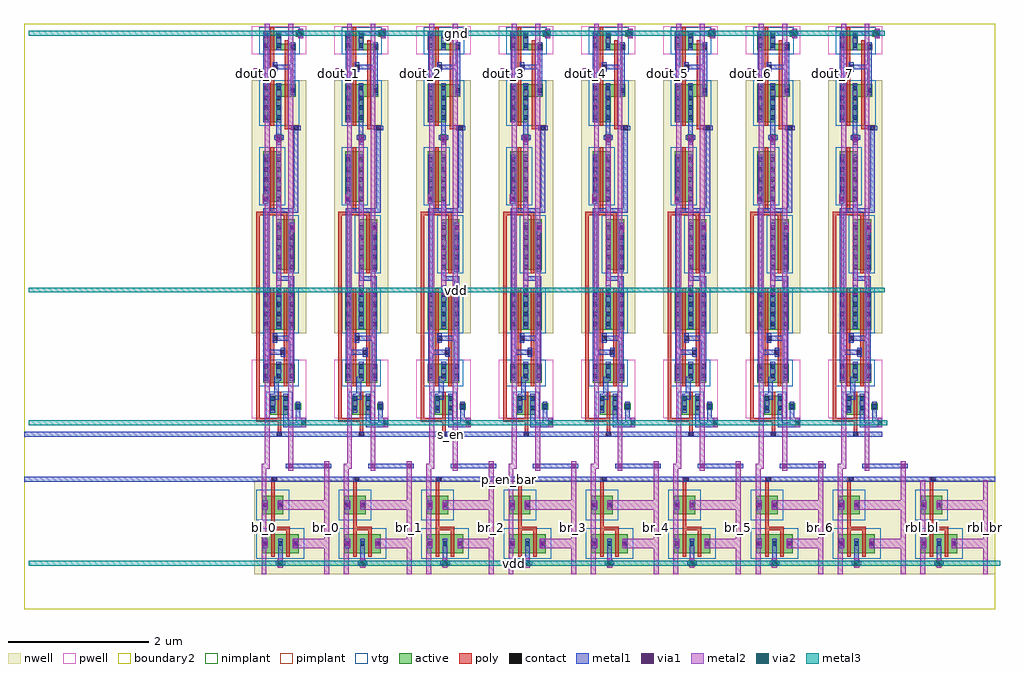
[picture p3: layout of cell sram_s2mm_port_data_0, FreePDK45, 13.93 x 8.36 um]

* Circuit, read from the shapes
.subckt sram_s2mm_port_data_0 bl_0 bl_1 bl_2 bl_3 bl_4 bl_5 bl_6 bl_7 br_0 br_1 br_2 br_3 br_4 br_5 br_6 br_7 dout_0 dout_1 dout_2 dout_3 dout_4 dout_5 dout_6 dout_7 gnd p_en_bar rbl_bl rbl_br s_en vdd
M1 n1 n2 n3 gnd nfet w=0.27u l=0.05u
M2 gnd n4 dout_0 gnd nfet w=0.27u l=0.05u
M3 gnd s_en n1 gnd nfet w=0.27u l=0.05u
M4 n2 n3 n1 gnd nfet w=0.27u l=0.05u
M5 n4 n3 gnd gnd nfet w=0.09u l=0.05u
M6 n5 n6 n7 gnd nfet w=0.27u l=0.05u
M7 gnd n8 dout_1 gnd nfet w=0.27u l=0.05u
M8 gnd s_en n5 gnd nfet w=0.27u l=0.05u
M9 n6 n7 n5 gnd nfet w=0.27u l=0.05u
M10 n8 n7 gnd gnd nfet w=0.09u l=0.05u
M11 n9 n10 n11 gnd nfet w=0.27u l=0.05u
M12 gnd n12 dout_2 gnd nfet w=0.27u l=0.05u
M13 gnd s_en n9 gnd nfet w=0.27u l=0.05u
M14 n10 n11 n9 gnd nfet w=0.27u l=0.05u
M15 n12 n11 gnd gnd nfet w=0.09u l=0.05u
M16 n13 n14 n15 gnd nfet w=0.27u l=0.05u
M17 gnd n16 dout_3 gnd nfet w=0.27u l=0.05u
M18 gnd s_en n13 gnd nfet w=0.27u l=0.05u
M19 n14 n15 n13 gnd nfet w=0.27u l=0.05u
M20 n16 n15 gnd gnd nfet w=0.09u l=0.05u
M21 n17 n18 n19 gnd nfet w=0.27u l=0.05u
M22 gnd n20 dout_4 gnd nfet w=0.27u l=0.05u
M23 gnd s_en n17 gnd nfet w=0.27u l=0.05u
M24 n18 n19 n17 gnd nfet w=0.27u l=0.05u
M25 n20 n19 gnd gnd nfet w=0.09u l=0.05u
M26 n21 n22 n23 gnd nfet w=0.27u l=0.05u
M27 gnd n24 dout_5 gnd nfet w=0.27u l=0.05u
M28 gnd s_en n21 gnd nfet w=0.27u l=0.05u
M29 n22 n23 n21 gnd nfet w=0.27u l=0.05u
M30 n24 n23 gnd gnd nfet w=0.09u l=0.05u
M31 n25 n26 n27 gnd nfet w=0.27u l=0.05u
M32 gnd n28 dout_6 gnd nfet w=0.27u l=0.05u
M33 gnd s_en n25 gnd nfet w=0.27u l=0.05u
M34 n26 n27 n25 gnd nfet w=0.27u l=0.05u
M35 n28 n27 gnd gnd nfet w=0.09u l=0.05u
M36 n29 n30 n31 gnd nfet w=0.27u l=0.05u
M37 gnd n32 dout_7 gnd nfet w=0.27u l=0.05u
M38 gnd s_en n29 gnd nfet w=0.27u l=0.05u
M39 n30 n31 n29 gnd nfet w=0.27u l=0.05u
M40 n32 n31 gnd gnd nfet w=0.09u l=0.05u
M41 vdd n2 n3 vdd pfet w=0.54u l=0.05u
M42 n3 s_en bl_0 vdd pfet w=0.72u l=0.05u
M43 vdd n4 dout_0 vdd pfet w=0.54u l=0.05u
M44 vdd p_en_bar bl_0 vdd pfet w=0.27u l=0.05u
M45 br_0 p_en_bar bl_0 vdd pfet w=0.27u l=0.05u
M46 n2 n3 vdd vdd pfet w=0.54u l=0.05u
M47 br_0 s_en n2 vdd pfet w=0.72u l=0.05u
M48 n4 n3 vdd vdd pfet w=0.18u l=0.05u
M49 br_0 p_en_bar vdd vdd pfet w=0.27u l=0.05u
M50 vdd n6 n7 vdd pfet w=0.54u l=0.05u
M51 n7 s_en bl_1 vdd pfet w=0.72u l=0.05u
M52 vdd n8 dout_1 vdd pfet w=0.54u l=0.05u
M53 vdd p_en_bar bl_1 vdd pfet w=0.27u l=0.05u
M54 br_1 p_en_bar bl_1 vdd pfet w=0.27u l=0.05u
M55 n6 n7 vdd vdd pfet w=0.54u l=0.05u
M56 br_1 s_en n6 vdd pfet w=0.72u l=0.05u
M57 n8 n7 vdd vdd pfet w=0.18u l=0.05u
M58 br_1 p_en_bar vdd vdd pfet w=0.27u l=0.05u
M59 vdd n10 n11 vdd pfet w=0.54u l=0.05u
M60 n11 s_en bl_2 vdd pfet w=0.72u l=0.05u
M61 vdd n12 dout_2 vdd pfet w=0.54u l=0.05u
M62 vdd p_en_bar bl_2 vdd pfet w=0.27u l=0.05u
M63 br_2 p_en_bar bl_2 vdd pfet w=0.27u l=0.05u
M64 n10 n11 vdd vdd pfet w=0.54u l=0.05u
M65 br_2 s_en n10 vdd pfet w=0.72u l=0.05u
M66 n12 n11 vdd vdd pfet w=0.18u l=0.05u
M67 br_2 p_en_bar vdd vdd pfet w=0.27u l=0.05u
M68 vdd n14 n15 vdd pfet w=0.54u l=0.05u
M69 n15 s_en bl_3 vdd pfet w=0.72u l=0.05u
M70 vdd n16 dout_3 vdd pfet w=0.54u l=0.05u
M71 vdd p_en_bar bl_3 vdd pfet w=0.27u l=0.05u
M72 br_3 p_en_bar bl_3 vdd pfet w=0.27u l=0.05u
M73 n14 n15 vdd vdd pfet w=0.54u l=0.05u
M74 br_3 s_en n14 vdd pfet w=0.72u l=0.05u
M75 n16 n15 vdd vdd pfet w=0.18u l=0.05u
M76 br_3 p_en_bar vdd vdd pfet w=0.27u l=0.05u
M77 vdd n18 n19 vdd pfet w=0.54u l=0.05u
M78 n19 s_en bl_4 vdd pfet w=0.72u l=0.05u
M79 vdd n20 dout_4 vdd pfet w=0.54u l=0.05u
M80 vdd p_en_bar bl_4 vdd pfet w=0.27u l=0.05u
M81 br_4 p_en_bar bl_4 vdd pfet w=0.27u l=0.05u
M82 n18 n19 vdd vdd pfet w=0.54u l=0.05u
M83 br_4 s_en n18 vdd pfet w=0.72u l=0.05u
M84 n20 n19 vdd vdd pfet w=0.18u l=0.05u
M85 br_4 p_en_bar vdd vdd pfet w=0.27u l=0.05u
M86 vdd n22 n23 vdd pfet w=0.54u l=0.05u
M87 n23 s_en bl_5 vdd pfet w=0.72u l=0.05u
M88 vdd n24 dout_5 vdd pfet w=0.54u l=0.05u
M89 vdd p_en_bar bl_5 vdd pfet w=0.27u l=0.05u
M90 br_5 p_en_bar bl_5 vdd pfet w=0.27u l=0.05u
M91 n22 n23 vdd vdd pfet w=0.54u l=0.05u
M92 br_5 s_en n22 vdd pfet w=0.72u l=0.05u
M93 n24 n23 vdd vdd pfet w=0.18u l=0.05u
M94 br_5 p_en_bar vdd vdd pfet w=0.27u l=0.05u
M95 vdd n26 n27 vdd pfet w=0.54u l=0.05u
M96 n27 s_en bl_6 vdd pfet w=0.72u l=0.05u
M97 vdd n28 dout_6 vdd pfet w=0.54u l=0.05u
M98 vdd p_en_bar bl_6 vdd pfet w=0.27u l=0.05u
M99 br_6 p_en_bar bl_6 vdd pfet w=0.27u l=0.05u
M100 n26 n27 vdd vdd pfet w=0.54u l=0.05u
M101 br_6 s_en n26 vdd pfet w=0.72u l=0.05u
M102 n28 n27 vdd vdd pfet w=0.18u l=0.05u
M103 br_6 p_en_bar vdd vdd pfet w=0.27u l=0.05u
M104 vdd n30 n31 vdd pfet w=0.54u l=0.05u
M105 n31 s_en bl_7 vdd pfet w=0.72u l=0.05u
M106 vdd n32 dout_7 vdd pfet w=0.54u l=0.05u
M107 vdd p_en_bar bl_7 vdd pfet w=0.27u l=0.05u
M108 br_7 p_en_bar bl_7 vdd pfet w=0.27u l=0.05u
M109 n30 n31 vdd vdd pfet w=0.54u l=0.05u
M110 br_7 s_en n30 vdd pfet w=0.72u l=0.05u
M111 n32 n31 vdd vdd pfet w=0.18u l=0.05u
M112 br_7 p_en_bar vdd vdd pfet w=0.27u l=0.05u
M113 vdd p_en_bar rbl_bl vdd pfet w=0.27u l=0.05u
M114 rbl_br p_en_bar rbl_bl vdd pfet w=0.27u l=0.05u
M115 rbl_br p_en_bar vdd vdd pfet w=0.27u l=0.05u
.ends

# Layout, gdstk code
import gdstk
lib = gdstk.Library(unit=1e-6, precision=5e-10)
def R(c, l, rs):  # rectangles x0, y0, x1, y1
    for r in rs: c.add(gdstk.rectangle(r[:2], r[2:], *l))
def A(c, l, x, y, w, h, nx, ny, dx, dy):  # array of equal rectangles
    R(c, l, [(x+i*dx, y+j*dy, x+i*dx+w, y+j*dy+h) for i in range(nx) for j in range(ny)])
def P(c, l, *ps):  # polygons
    for p in ps: c.add(gdstk.Polygon(p, *l))
active = (1, 0)
pwell = (2, 0)
nwell = (3, 0)
nimplant = (4, 0)
pimplant = (5, 0)
vtg = (6, 0)
poly = (9, 0)
contact = (10, 0)
metal1 = (11, 0)
via1 = (12, 0)
metal2 = (13, 0)
via2 = (14, 0)
metal3 = (15, 0)
boundary2 = (239, 0)

sram_s2mm_contact_11 = lib.new_cell('sram_s2mm_contact_11')
R(sram_s2mm_contact_11, active, [(0,0.0225,0.09,0.1125)])
R(sram_s2mm_contact_11, nwell, [(-0.055,-0.0325,0.145,0.1675)])
R(sram_s2mm_contact_11, pimplant, [(0,0.0225,0.09,0.1125)])
R(sram_s2mm_contact_11, contact, [(0.0125,0.035,0.0775,0.1)])
R(sram_s2mm_contact_11, metal1, [(0.0125,0,0.0775,0.135)])
R(sram_s2mm_contact_11, boundary2, [(-0.055,-0.0325,0.145,0.1675)])

sram_s2mm_pmos_m1_w0_270 = lib.new_cell('sram_s2mm_pmos_m1_w0_270_sm1_dm1')
R(sram_s2mm_pmos_m1_w0_270, active, [(0,0,0.305,0.27)])
R(sram_s2mm_pmos_m1_w0_270, nwell, [(-0.08,-0.08,0.385,0.35)])
R(sram_s2mm_pmos_m1_w0_270, pimplant, [(0,0,0.305,0.27)])
R(sram_s2mm_pmos_m1_w0_270, vtg, [(-0.08,-0.08,0.385,0.35)])
R(sram_s2mm_pmos_m1_w0_270, poly, [(0.1275,-0.055,0.1775,0.325), (0.1275,-0.055,0.1775,0.325)])
R(sram_s2mm_pmos_m1_w0_270, metal1, [(0.0125,0.0675,0.0775,0.2025), (0.2275,0.0675,0.2925,0.2025)])
R(sram_s2mm_pmos_m1_w0_270, boundary2, [(-0.08,-0.08,0.385,0.35)])
sram_s2mm_pmos_m1_w0_270.add(gdstk.Reference(sram_s2mm_contact_11, (0,0.0675)))
sram_s2mm_pmos_m1_w0_270.add(gdstk.Reference(sram_s2mm_contact_11, (0.215,0.0675)))
sram_s2mm_pmos_m1_w0_270.add(gdstk.Label('G', (0.1525,0.135), layer=9, texttype=0))
sram_s2mm_pmos_m1_w0_270.add(gdstk.Label('S', (0.045,0.135), layer=11, texttype=0))
sram_s2mm_pmos_m1_w0_270.add(gdstk.Label('D', (0.26,0.135), layer=11, texttype=0))

sram_s2mm_contact_14 = lib.new_cell('sram_s2mm_contact_14')
R(sram_s2mm_contact_14, poly, [(0.03,0,0.105,0.075)])
R(sram_s2mm_contact_14, contact, [(0.035,0.005,0.1,0.07)])
R(sram_s2mm_contact_14, metal1, [(0,0.005,0.135,0.07)])
R(sram_s2mm_contact_14, boundary2, [(0,0,0.135,0.075)])

sram_s2mm_contact_22 = lib.new_cell('sram_s2mm_contact_22')
R(sram_s2mm_contact_22, active, [(0.0225,0,0.1125,0.09)])
R(sram_s2mm_contact_22, nwell, [(-0.0325,-0.055,0.1675,0.145)])
R(sram_s2mm_contact_22, nimplant, [(0.0225,0,0.1125,0.09)])
R(sram_s2mm_contact_22, contact, [(0.035,0.0125,0.1,0.0775)])
R(sram_s2mm_contact_22, metal1, [(0,0.0125,0.135,0.0775)])
R(sram_s2mm_contact_22, boundary2, [(-0.0325,-0.055,0.1675,0.145)])

sram_s2mm_contact_17 = lib.new_cell('sram_s2mm_contact_17')
R(sram_s2mm_contact_17, metal1, [(0,0.035,0.135,0.1)])
R(sram_s2mm_contact_17, via1, [(0.035,0.035,0.1,0.1)])
R(sram_s2mm_contact_17, metal2, [(0.0325,0,0.1025,0.135)])
R(sram_s2mm_contact_17, boundary2, [(0,0,0.135,0.135)])

sram_s2mm_contact_23 = lib.new_cell('sram_s2mm_contact_23')
R(sram_s2mm_contact_23, metal1, [(0.0025,0,0.0675,0.135)])
R(sram_s2mm_contact_23, via1, [(0.0025,0.035,0.0675,0.1)])
R(sram_s2mm_contact_23, metal2, [(0,0,0.07,0.135)])
R(sram_s2mm_contact_23, boundary2, [(0,0,0.07,0.135)])

sram_s2mm_precharge_1 = lib.new_cell('sram_s2mm_precharge_1')
R(sram_s2mm_precharge_1, nwell, [(0,0,1.175,1.34)])
R(sram_s2mm_precharge_1, poly, [(0.24,-0.0375,0.29,0.0125), (0.265,-0.0375,0.29,0.0125), (0.24,-0.0125,0.29,0.165), (0.24,0.545,0.29,0.715), (0.24,0.665,0.505,0.715)])
R(sram_s2mm_precharge_1, metal1, [(0,-0.045,1.175,0.02), (0.34,0.905,0.405,1.185), (0.34,1.1525,0.405,1.2175)])
R(sram_s2mm_precharge_1, metal2, [(0.105,0,0.175,1.34), (0.105,0,0.175,1.34), (1,0,1.07,1.34), (1,0,1.07,1.34), (0.14,0.2875,0.1575,0.4225), (0.3725,0.2875,1.035,0.4225), (0.14,0.8375,0.1575,0.9725), (0.5875,0.8375,1.035,0.9725)])
R(sram_s2mm_precharge_1, boundary2, [(0,0,1.175,1.34)])
sram_s2mm_precharge_1.add(gdstk.Reference(sram_s2mm_pmos_m1_w0_270, (0.1125,0.22)))
sram_s2mm_precharge_1.add(gdstk.Reference(sram_s2mm_pmos_m1_w0_270, (0.1125,0.77)))
sram_s2mm_precharge_1.add(gdstk.Reference(sram_s2mm_pmos_m1_w0_270, (0.3275,0.77)))
sram_s2mm_precharge_1.add(gdstk.Reference(sram_s2mm_contact_14, (0.2225,-0.05)))
sram_s2mm_precharge_1.add(gdstk.Reference(sram_s2mm_contact_22, (0.305,1.14)))
sram_s2mm_precharge_1.add(gdstk.Reference(sram_s2mm_contact_17, (0.305,1.1175)))
sram_s2mm_precharge_1.add(gdstk.Reference(sram_s2mm_contact_23, (0.1225,0.2875)))
sram_s2mm_precharge_1.add(gdstk.Reference(sram_s2mm_contact_23, (0.3375,0.2875)))
sram_s2mm_precharge_1.add(gdstk.Reference(sram_s2mm_contact_23, (0.1225,0.8375)))
sram_s2mm_precharge_1.add(gdstk.Reference(sram_s2mm_contact_23, (0.5525,0.8375)))
sram_s2mm_precharge_1.add(gdstk.Label('en_bar', (0.5875,-0.0125), layer=11, texttype=0))
sram_s2mm_precharge_1.add(gdstk.Label('vdd', (0.3725,1.185), layer=11, texttype=0))
sram_s2mm_precharge_1.add(gdstk.Label('bl', (0.14,0.67), layer=13, texttype=0))
sram_s2mm_precharge_1.add(gdstk.Label('br', (1.035,0.67), layer=13, texttype=0))

sram_s2mm_contact_18 = lib.new_cell('sram_s2mm_contact_18')
R(sram_s2mm_contact_18, metal2, [(0.0325,0,0.1025,0.135)])
R(sram_s2mm_contact_18, via2, [(0.035,0.035,0.1,0.1)])
R(sram_s2mm_contact_18, metal3, [(0,0.0325,0.135,0.1025)])
R(sram_s2mm_contact_18, boundary2, [(0,0,0.135,0.135)])

sram_s2mm_precharge_arra = lib.new_cell('sram_s2mm_precharge_array_0')
R(sram_s2mm_precharge_arra, metal1, [(0,-0.045,13.86,0.02), (3.84,-0.045,3.905,0.02), (3.84,-0.045,3.905,0.02), (5.015,-0.045,5.08,0.02), (5.015,-0.045,5.08,0.02), (6.19,-0.045,6.255,0.02), (6.19,-0.045,6.255,0.02), (7.365,-0.045,7.43,0.02), (7.365,-0.045,7.43,0.02), (8.54,-0.045,8.605,0.02), (8.54,-0.045,8.605,0.02), (9.715,-0.045,9.78,0.02), (9.715,-0.045,9.78,0.02), (10.89,-0.045,10.955,0.02), (10.89,-0.045,10.955,0.02), (12.065,-0.045,12.13,0.02), (12.065,-0.045,12.13,0.02), (13.24,-0.045,13.305,0.02), (13.24,-0.045,13.305,0.02)])
R(sram_s2mm_precharge_arra, metal2, [(3.39,0,3.46,1.34), (4.285,0,4.355,1.34), (4.565,0,4.635,1.34), (5.46,0,5.53,1.34), (5.74,0,5.81,1.34), (6.635,0,6.705,1.34), (6.915,0,6.985,1.34), (7.81,0,7.88,1.34), (8.09,0,8.16,1.34), (8.985,0,9.055,1.34), (9.265,0,9.335,1.34), (10.16,0,10.23,1.34), (10.44,0,10.51,1.34), (11.335,0,11.405,1.34), (11.615,0,11.685,1.34), (12.51,0,12.58,1.34), (12.79,0,12.86,1.34), (13.685,0,13.755,1.34)])
R(sram_s2mm_precharge_arra, metal3, [(0.0675,1.15,13.9275,1.22)])
R(sram_s2mm_precharge_arra, boundary2, [(0,0,13.86,1.34)])
sram_s2mm_precharge_arra.add(gdstk.Reference(sram_s2mm_precharge_1, (3.285,0)))
sram_s2mm_precharge_arra.add(gdstk.Reference(sram_s2mm_precharge_1, (4.46,0)))
sram_s2mm_precharge_arra.add(gdstk.Reference(sram_s2mm_precharge_1, (5.635,0)))
sram_s2mm_precharge_arra.add(gdstk.Reference(sram_s2mm_precharge_1, (6.81,0)))
sram_s2mm_precharge_arra.add(gdstk.Reference(sram_s2mm_precharge_1, (7.985,0)))
sram_s2mm_precharge_arra.add(gdstk.Reference(sram_s2mm_precharge_1, (9.16,0)))
sram_s2mm_precharge_arra.add(gdstk.Reference(sram_s2mm_precharge_1, (10.335,0)))
sram_s2mm_precharge_arra.add(gdstk.Reference(sram_s2mm_precharge_1, (11.51,0)))
sram_s2mm_precharge_arra.add(gdstk.Reference(sram_s2mm_precharge_1, (12.685,0)))
sram_s2mm_precharge_arra.add(gdstk.Reference(sram_s2mm_contact_17, (3.59,1.1175)))
sram_s2mm_precharge_arra.add(gdstk.Reference(sram_s2mm_contact_18, (3.59,1.1175)))
sram_s2mm_precharge_arra.add(gdstk.Reference(sram_s2mm_contact_17, (4.765,1.1175)))
sram_s2mm_precharge_arra.add(gdstk.Reference(sram_s2mm_contact_18, (4.765,1.1175)))
sram_s2mm_precharge_arra.add(gdstk.Reference(sram_s2mm_contact_17, (5.94,1.1175)))
sram_s2mm_precharge_arra.add(gdstk.Reference(sram_s2mm_contact_18, (5.94,1.1175)))
sram_s2mm_precharge_arra.add(gdstk.Reference(sram_s2mm_contact_17, (7.115,1.1175)))
sram_s2mm_precharge_arra.add(gdstk.Reference(sram_s2mm_contact_18, (7.115,1.1175)))
sram_s2mm_precharge_arra.add(gdstk.Reference(sram_s2mm_contact_17, (8.29,1.1175)))
sram_s2mm_precharge_arra.add(gdstk.Reference(sram_s2mm_contact_18, (8.29,1.1175)))
sram_s2mm_precharge_arra.add(gdstk.Reference(sram_s2mm_contact_17, (9.465,1.1175)))
sram_s2mm_precharge_arra.add(gdstk.Reference(sram_s2mm_contact_18, (9.465,1.1175)))
sram_s2mm_precharge_arra.add(gdstk.Reference(sram_s2mm_contact_17, (10.64,1.1175)))
sram_s2mm_precharge_arra.add(gdstk.Reference(sram_s2mm_contact_18, (10.64,1.1175)))
sram_s2mm_precharge_arra.add(gdstk.Reference(sram_s2mm_contact_17, (11.815,1.1175)))
sram_s2mm_precharge_arra.add(gdstk.Reference(sram_s2mm_contact_18, (11.815,1.1175)))
sram_s2mm_precharge_arra.add(gdstk.Reference(sram_s2mm_contact_17, (12.99,1.1175)))
sram_s2mm_precharge_arra.add(gdstk.Reference(sram_s2mm_contact_18, (12.99,1.1175)))
sram_s2mm_precharge_arra.add(gdstk.Label('en_bar', (6.93,-0.0125), layer=11, texttype=0))
sram_s2mm_precharge_arra.add(gdstk.Label('bl_0', (3.425,0.67), layer=13, texttype=0))
sram_s2mm_precharge_arra.add(gdstk.Label('br_0', (4.32,0.67), layer=13, texttype=0))
sram_s2mm_precharge_arra.add(gdstk.Label('bl_1', (4.6,0.67), layer=13, texttype=0))
sram_s2mm_precharge_arra.add(gdstk.Label('br_1', (5.495,0.67), layer=13, texttype=0))
sram_s2mm_precharge_arra.add(gdstk.Label('bl_2', (5.775,0.67), layer=13, texttype=0))
sram_s2mm_precharge_arra.add(gdstk.Label('br_2', (6.67,0.67), layer=13, texttype=0))
sram_s2mm_precharge_arra.add(gdstk.Label('bl_3', (6.95,0.67), layer=13, texttype=0))
sram_s2mm_precharge_arra.add(gdstk.Label('br_3', (7.845,0.67), layer=13, texttype=0))
sram_s2mm_precharge_arra.add(gdstk.Label('bl_4', (8.125,0.67), layer=13, texttype=0))
sram_s2mm_precharge_arra.add(gdstk.Label('br_4', (9.02,0.67), layer=13, texttype=0))
sram_s2mm_precharge_arra.add(gdstk.Label('bl_5', (9.3,0.67), layer=13, texttype=0))
sram_s2mm_precharge_arra.add(gdstk.Label('br_5', (10.195,0.67), layer=13, texttype=0))
sram_s2mm_precharge_arra.add(gdstk.Label('bl_6', (10.475,0.67), layer=13, texttype=0))
sram_s2mm_precharge_arra.add(gdstk.Label('br_6', (11.37,0.67), layer=13, texttype=0))
sram_s2mm_precharge_arra.add(gdstk.Label('bl_7', (11.65,0.67), layer=13, texttype=0))
sram_s2mm_precharge_arra.add(gdstk.Label('br_7', (12.545,0.67), layer=13, texttype=0))
sram_s2mm_precharge_arra.add(gdstk.Label('bl_8', (12.825,0.67), layer=13, texttype=0))
sram_s2mm_precharge_arra.add(gdstk.Label('br_8', (13.72,0.67), layer=13, texttype=0))
sram_s2mm_precharge_arra.add(gdstk.Label('vdd', (6.9975,1.185), layer=15, texttype=0))

sense_amp = lib.new_cell('sense_amp')
R(sense_amp, active, [(0.595,0.095,0.685,0.185), (0.3075,1.58,0.3975,1.67), (0.1275,1.82,0.3875,2.54), (0.1275,1.82,0.2025,2.54), (0.1275,1.82,0.2025,2.54), (0.3125,1.82,0.3875,2.54), (0.3125,1.82,0.3875,2.54), (0.1275,1.905,0.2025,2.54), (0.3125,1.905,0.3875,2.54), (0.3175,2.79,0.5775,3.51), (0.3175,2.79,0.3925,3.51), (0.3175,2.79,0.3925,3.51), (0.5025,2.79,0.5775,3.51), (0.5025,2.79,0.5775,3.51), (0.3175,2.875,0.3925,3.51), (0.5025,2.875,0.5775,3.51), (0.1275,3.8275,0.2025,4.3225), (0.1275,3.8275,0.3875,4.3675), (0.1275,3.8275,0.2025,4.3675), (0.1275,3.8275,0.2025,4.3675), (0.3125,3.8275,0.3875,4.3225), (0.3125,3.8275,0.3875,4.3675), (0.3125,3.8275,0.3875,4.3675), (0.3175,3.8275,0.3925,4.3225), (0.3175,3.8275,0.5775,4.3675), (0.3175,3.8275,0.3925,4.3675), (0.3175,3.8275,0.3925,4.3675), (0.5025,3.8275,0.5775,4.3225), (0.5025,3.8275,0.5775,4.3675), (0.5025,3.8275,0.5775,4.3675), (0.1275,4.8525,0.2025,5.0675), (0.1275,4.8525,0.3875,5.1225), (0.1275,4.8525,0.2025,5.1225), (0.1275,4.8525,0.2025,5.1225), (0.3125,4.8525,0.3875,5.0675), (0.3125,4.8525,0.3875,5.1225), (0.3125,4.8525,0.3875,5.1225), (0.3175,4.8525,0.3925,5.0675), (0.3175,4.8525,0.5775,5.1225), (0.3175,4.8525,0.3925,5.1225), (0.3175,4.8525,0.3925,5.1225), (0.5025,4.8525,0.5775,5.0675), (0.5025,4.8525,0.5775,5.1225), (0.5025,4.8525,0.5775,5.1225), (0.2275,5.31,0.3025,5.525), (0.2275,5.31,0.4875,5.58), (0.2275,5.31,0.3025,5.58), (0.2275,5.31,0.3025,5.58), (0.4125,5.31,0.4875,5.525), (0.4125,5.31,0.4875,5.58), (0.4125,5.31,0.4875,5.58), (0.58,5.42,0.67,5.51)])
P(sense_amp, active, [(0.1275,0.11),(0.1275,0.38),(0.5925,0.38),(0.5925,0.29),(0.3875,0.29),(0.3875,0.11)],
  [(0.1275,0.865),(0.1275,1.405),(0.3875,1.405),(0.3875,1.045),(0.5925,1.045),(0.5925,0.865)])
R(sense_amp, pwell, [(-0.035,0.055,0.74,0.435), (-0.035,4.7975,0.74,5.635), (0.0725,4.7975,0.4425,5.1775), (0.2625,4.7975,0.6325,5.1775), (0.1725,5.255,0.5425,5.635), (0.525,5.365,0.725,5.565)])
P(sense_amp, pwell, [(-0.035,0.04),(-0.035,0.055),(0.595,0.055),(0.595,0.095),(0.685,0.095),(0.685,0.055),(0.74,0.055),(0.74,0.04)])
R(sense_amp, nwell, [(-0.035,0.81,0.74,4.4225), (0.0725,1.765,0.4425,2.595), (0.2625,2.735,0.6325,3.565), (0.0725,3.7725,0.4425,4.4225), (0.2625,3.7725,0.6325,4.4225)])
R(sense_amp, nimplant, [(0.3075,1.58,0.3975,1.67), (0.1275,4.8525,0.3875,5.1225), (0.3175,4.8525,0.5775,5.1225), (0.2275,5.31,0.4875,5.58)])
P(sense_amp, nimplant, [(0.1275,0.11),(0.1275,0.38),(0.5925,0.38),(0.5925,0.29),(0.3875,0.29),(0.3875,0.11)])
R(sense_amp, pimplant, [(0.595,0.095,0.685,0.185), (0.1275,1.82,0.3875,2.54), (0.3175,2.79,0.5775,3.51), (0.1275,3.8275,0.3875,4.3675), (0.3175,3.8275,0.5775,4.3675), (0.58,5.42,0.67,5.51)])
P(sense_amp, pimplant, [(0.1275,0.865),(0.1275,1.405),(0.3875,1.405),(0.3875,1.045),(0.5925,1.045),(0.5925,0.865)])
R(sense_amp, vtg, [(0.0725,0.055,0.6475,0.435), (0.0725,0.81,0.645,1.46), (0.0725,1.765,0.4425,2.595), (0.2625,2.735,0.6325,3.565), (0.0725,3.7725,0.4425,4.4225), (0.2625,3.7725,0.6325,4.4225), (0.0725,4.7975,0.4425,5.1775), (0.2625,4.7975,0.6325,5.1775), (0.1725,5.255,0.5425,5.635)])
R(sense_amp, poly, [(0.2325,0.055,0.2825,1.46), (0.2575,0.585,0.3325,0.66), (0.2325,1.765,0.2825,1.82), (0.2325,1.765,0.2825,2.595), (0.2325,2.54,0.2825,2.595), (0.2325,2.595,0.2825,2.685), (0.0275,2.685,0.4725,2.735), (0.0275,2.735,0.0775,5.635), (0.4225,2.735,0.4725,2.79), (0.4225,2.735,0.4725,3.565), (0.4225,3.51,0.4725,3.565), (0.2325,3.7725,0.2825,3.8275), (0.2325,3.7725,0.2825,4.4225), (0.4225,3.7725,0.4725,3.8275), (0.4225,3.7725,0.4725,4.4225), (0.2325,4.04,0.2825,4.7975), (0.4225,4.04,0.4725,4.7975), (0.2325,4.3675,0.2825,4.4225), (0.4225,4.3675,0.4725,4.4225), (0.2575,4.4525,0.3325,4.5275), (0.3725,4.6525,0.4475,4.7275), (0.2325,4.7975,0.2825,4.8525), (0.2325,4.7975,0.2825,5.1775), (0.4225,4.7975,0.4725,4.8525), (0.4225,4.7975,0.4725,5.1775), (0.2325,5.1225,0.2825,5.1775), (0.4225,5.1225,0.4725,5.1775), (0.3325,5.255,0.3825,5.31), (0.3325,5.255,0.3825,5.635), (0.3325,5.58,0.3825,5.635), (0.0275,5.635,0.3825,5.685), (0.3325,5.685,0.3825,5.89), (0.32,5.8225,0.395,5.8975)])
P(sense_amp, poly, [(0.4375,0.235),(0.4375,1.505),(0.56,1.505),(0.56,1.525),(0.635,1.525),(0.635,1.45),(0.4875,1.45),(0.4875,0.235)])
A(sense_amp, contact, 0.1325, 0.8875, 0.065, 0.065, 1, 4, 0, 0.14)
A(sense_amp, contact, 0.3175, 0.8875, 0.065, 0.065, 1, 4, 0, 0.14)
A(sense_amp, contact, 0.1325, 1.91, 0.065, 0.065, 1, 5, 0, 0.14)
A(sense_amp, contact, 0.3175, 1.91, 0.065, 0.065, 1, 5, 0, 0.14)
A(sense_amp, contact, 0.3225, 2.88, 0.065, 0.065, 1, 5, 0, 0.14)
A(sense_amp, contact, 0.5075, 2.88, 0.065, 0.065, 1, 5, 0, 0.14)
A(sense_amp, contact, 0.1325, 3.8325, 0.065, 0.065, 1, 4, 0, 0.14)
A(sense_amp, contact, 0.3225, 3.8325, 0.065, 0.065, 1, 4, 0, 0.14)
A(sense_amp, contact, 0.5075, 3.8325, 0.065, 0.065, 1, 4, 0, 0.14)
R(sense_amp, contact, [(0.61,0.1075,0.675,0.1725), (0.1325,0.1425,0.1975,0.2075), (0.3175,0.1425,0.3825,0.2075), (0.1325,0.2825,0.1975,0.3475), (0.3175,0.2825,0.3825,0.3475), (0.5225,0.3,0.5875,0.365), (0.2625,0.59,0.3275,0.655), (0.5225,0.92,0.5875,0.985), (0.565,1.455,0.63,1.52), (0.32,1.5925,0.385,1.6575), (0.2625,4.4575,0.3275,4.5225), (0.3775,4.6575,0.4425,4.7225), (0.1325,4.8575,0.1975,4.9225), (0.3225,4.8575,0.3875,4.9225), (0.5075,4.8575,0.5725,4.9225), (0.1325,4.9975,0.1975,5.0625), (0.3225,4.9975,0.3875,5.0625), (0.5075,4.9975,0.5725,5.0625), (0.2325,5.315,0.2975,5.38), (0.4175,5.315,0.4825,5.38), (0.5925,5.4325,0.6575,5.4975), (0.2325,5.455,0.2975,5.52), (0.4175,5.455,0.4825,5.52), (0.325,5.8275,0.39,5.8925)])
R(sense_amp, metal1, [(0.1325,0.1075,0.1975,1.4075), (0.3175,0.1075,0.3825,0.3825), (0.3825,0.1075,0.5675,0.1725), (0.5225,0.265,0.5875,0.3), (0.2625,0.555,0.3275,0.69), (-0.0025,0.64,0.0625,0.775), (-0.0075,0.67,0.0675,0.745), (0.0675,0.675,0.1325,0.74), (0.3175,0.8525,0.3825,0.8875), (0.3175,0.8875,0.3825,1.6575), (0.5225,0.985,0.5875,1.02), (0.53,1.455,0.665,1.52), (0.565,1.455,0.63,2.7), (0.285,1.5925,0.42,1.6575), (0.32,1.5925,0.385,1.7275), (0.1325,1.875,0.1975,2.57), (0.3175,1.875,0.3825,2.57), (0.1275,2.435,0.1925,2.57), (0.32,2.5025,0.385,2.7), (0.1325,2.635,0.63,2.7), (0.1325,2.7,0.1975,3.7975), (0.3225,2.845,0.3875,3.54), (0.5075,2.845,0.5725,3.54), (0.51,2.845,0.575,2.98), (0.3225,3.475,0.3875,3.67), (0.3225,3.605,0.5725,3.67), (0.5075,3.605,0.5725,3.8), (0.32,3.735,0.385,3.87), (0.1325,3.7975,0.1975,4.3525), (0.3175,3.7975,0.3825,4.3525), (0.3225,3.7975,0.3875,4.3525), (0.5075,3.7975,0.5725,4.3525), (0.1325,3.96,0.1975,4.8275), (0.5075,3.96,0.5725,4.8225), (0.2625,4.4225,0.3275,4.5575), (0.2825,4.4575,0.5725,4.5225), (0.3775,4.6225,0.4425,4.7575), (0.1325,4.6575,0.4225,4.7225), (0.1325,4.8225,0.1975,5.0975), (0.3175,4.8225,0.3825,5.0975), (0.3225,4.8225,0.3875,5.0975), (0.5075,4.8225,0.5725,5.0975), (0.2825,5.04,0.3525,5.3675), (0.2325,5.28,0.2975,5.555), (0.4175,5.28,0.4825,5.555), (0.5925,5.3975,0.6575,5.5325), (0.5925,5.5325,0.6575,5.7625), (0.4175,5.545,0.4825,5.6975), (0.6575,5.6275,0.6725,5.6975), (0.6725,5.6275,0.7375,5.7625), (0.4175,5.6975,0.74,5.7625), (-0.035,5.8275,0.74,5.8925), (-0.035,5.8275,0.74,5.8925), (0.23,5.8275,0.295,5.8925), (0.29,5.8275,0.425,5.8925)])
P(sense_amp, metal1, [(0.5225,0.3),(0.5225,0.59),(0.2625,0.59),(0.2625,0.655),(0.5225,0.655),(0.5225,0.985),(0.5875,0.985),(0.5875,0.3)],
  [(0.6325,0.0725),(0.6325,0.1075),(0.5675,0.1075),(0.5675,0.1725),(0.6325,0.1725),(0.6325,0.2075),(0.6975,0.2075),(0.6975,0.1725),(0.71,0.1725),(0.71,0.1075),(0.6975,0.1075),(0.6975,0.0725)],
  [(0,1.4525),(0,1.4525),(0,1.4525),(0,1.4525)])
R(sense_amp, via1, [(0.6325,0.1075,0.6975,0.1725), (-0.0025,0.675,0.0625,0.74), (0.32,1.6275,0.385,1.6925), (0.1275,2.47,0.1925,2.535), (0.51,2.88,0.575,2.945), (0.32,3.77,0.385,3.835), (0.6725,5.6625,0.7375,5.7275)])
R(sense_amp, metal2, [(0.15,0,0.22,6.01), (0.15,0,0.22,6.01), (0.485,0,0.555,6.01), (0.485,0,0.555,6.01), (0.6275,0.0725,0.7025,0.2075), (0.6275,0.0725,0.7025,0.2075), (0.6275,0.1025,0.7025,0.1775), (-0.01,0.64,0.0675,0.775), (-0.01,0.64,0.0675,0.775), (-0.0075,0.67,0.0675,0.745), (0.3175,1.5925,0.3875,1.7275), (0.3175,1.725,0.3875,3.735), (0.125,2.435,0.195,2.57), (0.5075,2.845,0.5775,2.98), (0.3175,3.735,0.3875,3.87), (0.3175,3.735,0.3875,3.87), (0.67,5.6275,0.74,5.7625), (0.67,5.6275,0.74,5.7625)])
R(sense_amp, boundary2, [(0,0,0.705,6.01)])
sense_amp.add(gdstk.Label('en', (0.258,5.86), layer=11, texttype=0))
sense_amp.add(gdstk.Label('dout', (0.0285,0.6925), layer=13, texttype=0))
sense_amp.add(gdstk.Label('gnd', (0.6555,0.1235), layer=13, texttype=0))
sense_amp.add(gdstk.Label('bl', (0.19,0.005), layer=13, texttype=0))
sense_amp.add(gdstk.Label('br', (0.52,0.0065), layer=13, texttype=0))
sense_amp.add(gdstk.Label('vdd', (0.3525,3.8), layer=13, texttype=0))
sense_amp.add(gdstk.Label('gnd', (0.7025,5.735), layer=13, texttype=0))
sense_amp.add(gdstk.Label('bl', (0.185,3.005), layer=13, texttype=0))
sense_amp.add(gdstk.Label('br', (0.52,3.005), layer=13, texttype=0))
sense_amp.add(gdstk.Label('dout', (0.029,0.7075), layer=13, texttype=0))
sense_amp.add(gdstk.Label('en', (0.3525,5.86), layer=11, texttype=0))
sense_amp.add(gdstk.Label('vdd', (0.3525,3.8025), layer=13, texttype=0))
sense_amp.add(gdstk.Label('gnd', (0.665,0.14), layer=13, texttype=0))
sense_amp.add(gdstk.Label('gnd', (0.705,5.695), layer=13, texttype=0))

sram_s2mm_sense_amp_arra = lib.new_cell('sram_s2mm_sense_amp_array')
A(sram_s2mm_sense_amp_arra, metal1, 3.605, 5.8275, 0.065, 0.065, 8, 1, 1.175, 0)
R(sram_s2mm_sense_amp_arra, metal1, [(0,5.8275,12.215,5.8925)])
A(sram_s2mm_sense_amp_arra, metal2, 3.275, 0.64, 0.0775, 0.135, 8, 1, 1.175, 0)
R(sram_s2mm_sense_amp_arra, metal2, [(3.435,0,3.505,6.01), (3.77,0,3.84,6.01), (4.61,0,4.68,6.01), (4.945,0,5.015,6.01), (5.785,0,5.855,6.01), (6.12,0,6.19,6.01), (6.96,0,7.03,6.01), (7.295,0,7.365,6.01), (8.135,0,8.205,6.01), (8.47,0,8.54,6.01), (9.31,0,9.38,6.01), (9.645,0,9.715,6.01), (10.485,0,10.555,6.01), (10.82,0,10.89,6.01), (11.66,0,11.73,6.01), (11.995,0,12.065,6.01)])
R(sram_s2mm_sense_amp_arra, metal3, [(0.0675,0.105,12.2825,0.175), (0.0675,3.7675,12.2825,3.8375), (0.0675,5.66,12.3175,5.73)])
R(sram_s2mm_sense_amp_arra, boundary2, [(0,0,12.215,6.01)])
sram_s2mm_sense_amp_arra.add(gdstk.Reference(sense_amp, (3.285,0)))
sram_s2mm_sense_amp_arra.add(gdstk.Reference(sense_amp, (4.46,0)))
sram_s2mm_sense_amp_arra.add(gdstk.Reference(sense_amp, (5.635,0)))
sram_s2mm_sense_amp_arra.add(gdstk.Reference(sense_amp, (6.81,0)))
sram_s2mm_sense_amp_arra.add(gdstk.Reference(sense_amp, (7.985,0)))
sram_s2mm_sense_amp_arra.add(gdstk.Reference(sense_amp, (9.16,0)))
sram_s2mm_sense_amp_arra.add(gdstk.Reference(sense_amp, (10.335,0)))
sram_s2mm_sense_amp_arra.add(gdstk.Reference(sense_amp, (11.51,0)))
sram_s2mm_sense_amp_arra.add(gdstk.Reference(sram_s2mm_contact_18, (3.57,3.735)))
sram_s2mm_sense_amp_arra.add(gdstk.Reference(sram_s2mm_contact_18, (4.745,3.735)))
sram_s2mm_sense_amp_arra.add(gdstk.Reference(sram_s2mm_contact_18, (5.92,3.735)))
sram_s2mm_sense_amp_arra.add(gdstk.Reference(sram_s2mm_contact_18, (7.095,3.735)))
sram_s2mm_sense_amp_arra.add(gdstk.Reference(sram_s2mm_contact_18, (8.27,3.735)))
sram_s2mm_sense_amp_arra.add(gdstk.Reference(sram_s2mm_contact_18, (9.445,3.735)))
sram_s2mm_sense_amp_arra.add(gdstk.Reference(sram_s2mm_contact_18, (10.62,3.735)))
sram_s2mm_sense_amp_arra.add(gdstk.Reference(sram_s2mm_contact_18, (11.795,3.735)))
sram_s2mm_sense_amp_arra.add(gdstk.Reference(sram_s2mm_contact_18, (3.8825,0.0725)))
sram_s2mm_sense_amp_arra.add(gdstk.Reference(sram_s2mm_contact_18, (5.0575,0.0725)))
sram_s2mm_sense_amp_arra.add(gdstk.Reference(sram_s2mm_contact_18, (6.2325,0.0725)))
sram_s2mm_sense_amp_arra.add(gdstk.Reference(sram_s2mm_contact_18, (7.4075,0.0725)))
sram_s2mm_sense_amp_arra.add(gdstk.Reference(sram_s2mm_contact_18, (8.5825,0.0725)))
sram_s2mm_sense_amp_arra.add(gdstk.Reference(sram_s2mm_contact_18, (9.7575,0.0725)))
sram_s2mm_sense_amp_arra.add(gdstk.Reference(sram_s2mm_contact_18, (10.9325,0.0725)))
sram_s2mm_sense_amp_arra.add(gdstk.Reference(sram_s2mm_contact_18, (12.1075,0.0725)))
sram_s2mm_sense_amp_arra.add(gdstk.Reference(sram_s2mm_contact_18, (3.9225,5.6275)))
sram_s2mm_sense_amp_arra.add(gdstk.Reference(sram_s2mm_contact_18, (5.0975,5.6275)))
sram_s2mm_sense_amp_arra.add(gdstk.Reference(sram_s2mm_contact_18, (6.2725,5.6275)))
sram_s2mm_sense_amp_arra.add(gdstk.Reference(sram_s2mm_contact_18, (7.4475,5.6275)))
sram_s2mm_sense_amp_arra.add(gdstk.Reference(sram_s2mm_contact_18, (8.6225,5.6275)))
sram_s2mm_sense_amp_arra.add(gdstk.Reference(sram_s2mm_contact_18, (9.7975,5.6275)))
sram_s2mm_sense_amp_arra.add(gdstk.Reference(sram_s2mm_contact_18, (10.9725,5.6275)))
sram_s2mm_sense_amp_arra.add(gdstk.Reference(sram_s2mm_contact_18, (12.1475,5.6275)))
sram_s2mm_sense_amp_arra.add(gdstk.Label('bl_0', (3.47,3.005), layer=13, texttype=0))
sram_s2mm_sense_amp_arra.add(gdstk.Label('br_0', (3.805,3.005), layer=13, texttype=0))
sram_s2mm_sense_amp_arra.add(gdstk.Label('data_0', (3.3135,0.7075), layer=13, texttype=0))
sram_s2mm_sense_amp_arra.add(gdstk.Label('bl_1', (4.645,3.005), layer=13, texttype=0))
sram_s2mm_sense_amp_arra.add(gdstk.Label('br_1', (4.98,3.005), layer=13, texttype=0))
sram_s2mm_sense_amp_arra.add(gdstk.Label('data_1', (4.489,0.7075), layer=13, texttype=0))
sram_s2mm_sense_amp_arra.add(gdstk.Label('bl_2', (5.82,3.005), layer=13, texttype=0))
sram_s2mm_sense_amp_arra.add(gdstk.Label('br_2', (6.155,3.005), layer=13, texttype=0))
sram_s2mm_sense_amp_arra.add(gdstk.Label('data_2', (5.664,0.7075), layer=13, texttype=0))
sram_s2mm_sense_amp_arra.add(gdstk.Label('bl_3', (6.995,3.005), layer=13, texttype=0))
sram_s2mm_sense_amp_arra.add(gdstk.Label('br_3', (7.33,3.005), layer=13, texttype=0))
sram_s2mm_sense_amp_arra.add(gdstk.Label('data_3', (6.839,0.7075), layer=13, texttype=0))
sram_s2mm_sense_amp_arra.add(gdstk.Label('bl_4', (8.17,3.005), layer=13, texttype=0))
sram_s2mm_sense_amp_arra.add(gdstk.Label('br_4', (8.505,3.005), layer=13, texttype=0))
sram_s2mm_sense_amp_arra.add(gdstk.Label('data_4', (8.014,0.7075), layer=13, texttype=0))
sram_s2mm_sense_amp_arra.add(gdstk.Label('bl_5', (9.345,3.005), layer=13, texttype=0))
sram_s2mm_sense_amp_arra.add(gdstk.Label('br_5', (9.68,3.005), layer=13, texttype=0))
sram_s2mm_sense_amp_arra.add(gdstk.Label('data_5', (9.189,0.7075), layer=13, texttype=0))
sram_s2mm_sense_amp_arra.add(gdstk.Label('bl_6', (10.52,3.005), layer=13, texttype=0))
sram_s2mm_sense_amp_arra.add(gdstk.Label('br_6', (10.855,3.005), layer=13, texttype=0))
sram_s2mm_sense_amp_arra.add(gdstk.Label('data_6', (10.364,0.7075), layer=13, texttype=0))
sram_s2mm_sense_amp_arra.add(gdstk.Label('bl_7', (11.695,3.005), layer=13, texttype=0))
sram_s2mm_sense_amp_arra.add(gdstk.Label('br_7', (12.03,3.005), layer=13, texttype=0))
sram_s2mm_sense_amp_arra.add(gdstk.Label('data_7', (11.539,0.7075), layer=13, texttype=0))
sram_s2mm_sense_amp_arra.add(gdstk.Label('vdd', (6.175,3.8025), layer=15, texttype=0))
sram_s2mm_sense_amp_arra.add(gdstk.Label('gnd', (6.175,0.14), layer=15, texttype=0))
sram_s2mm_sense_amp_arra.add(gdstk.Label('gnd', (6.1925,5.695), layer=15, texttype=0))
sram_s2mm_sense_amp_arra.add(gdstk.Label('en', (6.1075,5.86), layer=11, texttype=0))

sram_s2mm_port_data_0 = lib.new_cell('sram_s2mm_port_data_0')
A(sram_s2mm_port_data_0, metal1, 3.805, 2.0125, 0.515, 0.065, 8, 1, 1.175, 0)
R(sram_s2mm_port_data_0, metal1, [(0,1.825,13.86,1.89), (0,2.4675,12.215,2.5325)])
A(sram_s2mm_port_data_0, metal2, 3.39, 2.01, 0.115, 0.07, 8, 1, 1.175, 0)
A(sram_s2mm_port_data_0, metal2, 3.275, 7.585, 0.0775, 0.135, 8, 1, 1.175, 0)
R(sram_s2mm_port_data_0, metal2, [(3.39,0.505,3.46,1.845), (4.285,0.505,4.355,1.845), (4.565,0.505,4.635,1.845), (5.46,0.505,5.53,1.845), (5.74,0.505,5.81,1.845), (6.635,0.505,6.705,1.845), (6.915,0.505,6.985,1.845), (7.81,0.505,7.88,1.845), (8.09,0.505,8.16,1.845), (8.985,0.505,9.055,1.845), (9.265,0.505,9.335,1.845), (10.16,0.505,10.23,1.845), (10.44,0.505,10.51,1.845), (11.335,0.505,11.405,1.845), (11.615,0.505,11.685,1.845), (12.51,0.505,12.58,1.845), (12.79,0.505,12.86,1.845), (13.685,0.505,13.755,1.845), (3.39,1.81,3.46,1.88), (4.285,1.81,4.355,1.88), (4.565,1.81,4.635,1.88), (5.46,1.81,5.53,1.88), (5.74,1.81,5.81,1.88), (6.635,1.81,6.705,1.88), (6.915,1.81,6.985,1.88), (7.81,1.81,7.88,1.88), (8.09,1.81,8.16,1.88), (8.985,1.81,9.055,1.88), (9.265,1.81,9.335,1.88), (10.16,1.81,10.23,1.88), (10.44,1.81,10.51,1.88), (11.335,1.81,11.405,1.88), (11.615,1.81,11.685,1.88), (12.51,1.81,12.58,1.88), (3.39,1.845,3.46,2.045), (3.39,1.845,3.46,2.045), (4.285,1.845,4.355,2.045), (4.565,1.845,4.635,2.045), (4.565,1.845,4.635,2.045), (5.46,1.845,5.53,2.045), (5.74,1.845,5.81,2.045), (5.74,1.845,5.81,2.045), (6.635,1.845,6.705,2.045), (6.915,1.845,6.985,2.045), (6.915,1.845,6.985,2.045), (7.81,1.845,7.88,2.045), (8.09,1.845,8.16,2.045), (8.09,1.845,8.16,2.045), (8.985,1.845,9.055,2.045), (9.265,1.845,9.335,2.045), (9.265,1.845,9.335,2.045), (10.16,1.845,10.23,2.045), (10.44,1.845,10.51,2.045), (10.44,1.845,10.51,2.045), (11.335,1.845,11.405,2.045), (11.615,1.845,11.685,2.045), (11.615,1.845,11.685,2.045), (12.51,1.845,12.58,2.045), (3.435,2.045,3.505,2.35), (3.435,2.045,3.505,2.35), (3.77,2.045,3.84,2.35), (4.61,2.045,4.68,2.35), (4.61,2.045,4.68,2.35), (4.945,2.045,5.015,2.35), (5.785,2.045,5.855,2.35), (5.785,2.045,5.855,2.35), (6.12,2.045,6.19,2.35), (6.96,2.045,7.03,2.35), (6.96,2.045,7.03,2.35), (7.295,2.045,7.365,2.35), (8.135,2.045,8.205,2.35), (8.135,2.045,8.205,2.35), (8.47,2.045,8.54,2.35), (9.31,2.045,9.38,2.35), (9.31,2.045,9.38,2.35), (9.645,2.045,9.715,2.35), (10.485,2.045,10.555,2.35), (10.485,2.045,10.555,2.35), (10.82,2.045,10.89,2.35), (11.66,2.045,11.73,2.35), (11.66,2.045,11.73,2.35), (11.995,2.045,12.065,2.35), (3.435,2.315,3.505,2.385), (3.77,2.315,3.84,2.385), (4.61,2.315,4.68,2.385), (4.945,2.315,5.015,2.385), (5.785,2.315,5.855,2.385), (6.12,2.315,6.19,2.385), (6.96,2.315,7.03,2.385), (7.295,2.315,7.365,2.385), (8.135,2.315,8.205,2.385), (8.47,2.315,8.54,2.385), (9.31,2.315,9.38,2.385), (9.645,2.315,9.715,2.385), (10.485,2.315,10.555,2.385), (10.82,2.315,10.89,2.385), (11.66,2.315,11.73,2.385), (11.995,2.315,12.065,2.385)])
R(sram_s2mm_port_data_0, metal3, [(0.0675,0.625,13.9275,0.695), (0.0675,2.63,12.3175,2.7), (0.0675,4.5225,12.2825,4.5925), (0.0675,8.185,12.2825,8.255)])
R(sram_s2mm_port_data_0, boundary2, [(0,0,13.86,8.36)])
sram_s2mm_port_data_0.add(gdstk.Reference(sram_s2mm_precharge_arra, (0,1.845), x_reflection=True))
sram_s2mm_port_data_0.add(gdstk.Reference(sram_s2mm_sense_amp_arra, (0,8.36), x_reflection=True))
sram_s2mm_port_data_0.add(gdstk.Reference(sram_s2mm_contact_17, (4.2525,1.9775)))
sram_s2mm_port_data_0.add(gdstk.Reference(sram_s2mm_contact_17, (3.7375,1.9775)))
sram_s2mm_port_data_0.add(gdstk.Reference(sram_s2mm_contact_17, (5.4275,1.9775)))
sram_s2mm_port_data_0.add(gdstk.Reference(sram_s2mm_contact_17, (4.9125,1.9775)))
sram_s2mm_port_data_0.add(gdstk.Reference(sram_s2mm_contact_17, (6.6025,1.9775)))
sram_s2mm_port_data_0.add(gdstk.Reference(sram_s2mm_contact_17, (6.0875,1.9775)))
sram_s2mm_port_data_0.add(gdstk.Reference(sram_s2mm_contact_17, (7.7775,1.9775)))
sram_s2mm_port_data_0.add(gdstk.Reference(sram_s2mm_contact_17, (7.2625,1.9775)))
sram_s2mm_port_data_0.add(gdstk.Reference(sram_s2mm_contact_17, (8.9525,1.9775)))
sram_s2mm_port_data_0.add(gdstk.Reference(sram_s2mm_contact_17, (8.4375,1.9775)))
sram_s2mm_port_data_0.add(gdstk.Reference(sram_s2mm_contact_17, (10.1275,1.9775)))
sram_s2mm_port_data_0.add(gdstk.Reference(sram_s2mm_contact_17, (9.6125,1.9775)))
sram_s2mm_port_data_0.add(gdstk.Reference(sram_s2mm_contact_17, (11.3025,1.9775)))
sram_s2mm_port_data_0.add(gdstk.Reference(sram_s2mm_contact_17, (10.7875,1.9775)))
sram_s2mm_port_data_0.add(gdstk.Reference(sram_s2mm_contact_17, (12.4775,1.9775)))
sram_s2mm_port_data_0.add(gdstk.Reference(sram_s2mm_contact_17, (11.9625,1.9775)))
sram_s2mm_port_data_0.add(gdstk.Label('dout_0', (3.3135,7.6525), layer=13, texttype=0))
sram_s2mm_port_data_0.add(gdstk.Label('dout_1', (4.489,7.6525), layer=13, texttype=0))
sram_s2mm_port_data_0.add(gdstk.Label('dout_2', (5.664,7.6525), layer=13, texttype=0))
sram_s2mm_port_data_0.add(gdstk.Label('dout_3', (6.839,7.6525), layer=13, texttype=0))
sram_s2mm_port_data_0.add(gdstk.Label('dout_4', (8.014,7.6525), layer=13, texttype=0))
sram_s2mm_port_data_0.add(gdstk.Label('dout_5', (9.189,7.6525), layer=13, texttype=0))
sram_s2mm_port_data_0.add(gdstk.Label('dout_6', (10.364,7.6525), layer=13, texttype=0))
sram_s2mm_port_data_0.add(gdstk.Label('dout_7', (11.539,7.6525), layer=13, texttype=0))
sram_s2mm_port_data_0.add(gdstk.Label('rbl_bl', (12.825,1.175), layer=13, texttype=0))
sram_s2mm_port_data_0.add(gdstk.Label('rbl_br', (13.72,1.175), layer=13, texttype=0))
sram_s2mm_port_data_0.add(gdstk.Label('bl_0', (3.425,1.175), layer=13, texttype=0))
sram_s2mm_port_data_0.add(gdstk.Label('br_0', (4.32,1.175), layer=13, texttype=0))
sram_s2mm_port_data_0.add(gdstk.Label('bl_1', (4.6,1.175), layer=13, texttype=0))
sram_s2mm_port_data_0.add(gdstk.Label('br_1', (5.495,1.175), layer=13, texttype=0))
sram_s2mm_port_data_0.add(gdstk.Label('bl_2', (5.775,1.175), layer=13, texttype=0))
sram_s2mm_port_data_0.add(gdstk.Label('br_2', (6.67,1.175), layer=13, texttype=0))
sram_s2mm_port_data_0.add(gdstk.Label('bl_3', (6.95,1.175), layer=13, texttype=0))
sram_s2mm_port_data_0.add(gdstk.Label('br_3', (7.845,1.175), layer=13, texttype=0))
sram_s2mm_port_data_0.add(gdstk.Label('bl_4', (8.125,1.175), layer=13, texttype=0))
sram_s2mm_port_data_0.add(gdstk.Label('br_4', (9.02,1.175), layer=13, texttype=0))
sram_s2mm_port_data_0.add(gdstk.Label('bl_5', (9.3,1.175), layer=13, texttype=0))
sram_s2mm_port_data_0.add(gdstk.Label('br_5', (10.195,1.175), layer=13, texttype=0))
sram_s2mm_port_data_0.add(gdstk.Label('bl_6', (10.475,1.175), layer=13, texttype=0))
sram_s2mm_port_data_0.add(gdstk.Label('br_6', (11.37,1.175), layer=13, texttype=0))
sram_s2mm_port_data_0.add(gdstk.Label('bl_7', (11.65,1.175), layer=13, texttype=0))
sram_s2mm_port_data_0.add(gdstk.Label('br_7', (12.545,1.175), layer=13, texttype=0))
sram_s2mm_port_data_0.add(gdstk.Label('p_en_bar', (6.93,1.8575), layer=11, texttype=0))
sram_s2mm_port_data_0.add(gdstk.Label('s_en', (6.1075,2.5), layer=11, texttype=0))
sram_s2mm_port_data_0.add(gdstk.Label('vdd', (6.175,4.5575), layer=15, texttype=0))
sram_s2mm_port_data_0.add(gdstk.Label('vdd', (6.9975,0.66), layer=15, texttype=0))
sram_s2mm_port_data_0.add(gdstk.Label('gnd', (6.175,8.22), layer=15, texttype=0))
sram_s2mm_port_data_0.add(gdstk.Label('gnd', (6.1925,2.665), layer=15, texttype=0))

lib.write_gds('sram_s2mm_port_data_0.gds')
